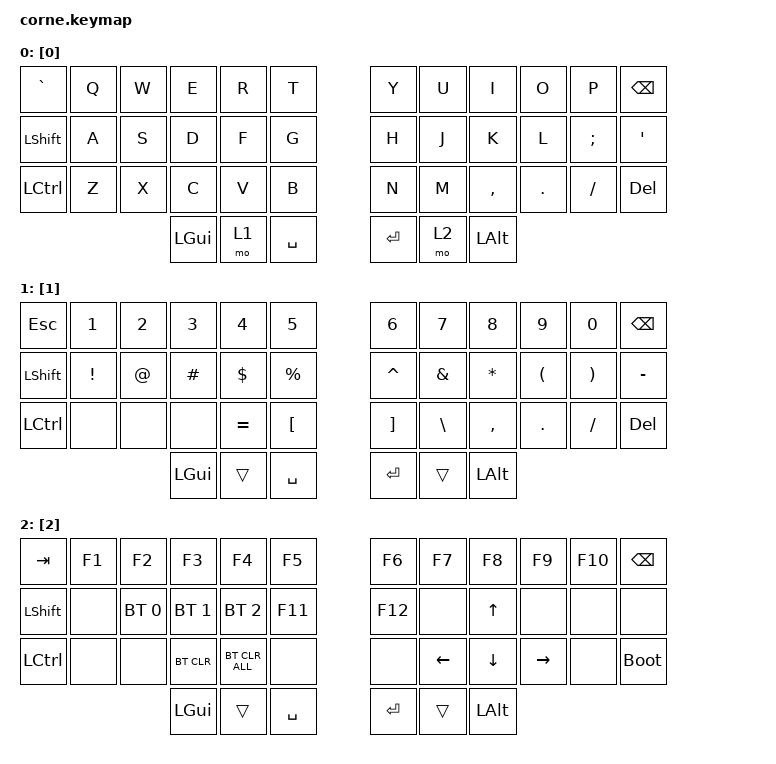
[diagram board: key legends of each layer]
/*
 * Copyright (c) 2020 The ZMK Contributors
 *
 * SPDX-License-Identifier: MIT
 */

#include <behaviors.dtsi>
#include <dt-bindings/zmk/bt.h>
#include <dt-bindings/zmk/keys.h>

/ {
    keymap {
        compatible = "zmk,keymap";

        default_layer {
            label = "[0]";

            // -----------------------------------------------------------------------------------------
            // |  TAB |  Q  |  W  |  E  |  R  |  T  |   |  Y  |  U   |  I  |  O  |  P  | BKSP |
            // | CTRL |  A  |  S  |  D  |  F  |  G  |   |  H  |  J   |  K  |  L  |  ;  |  '   |
            // | SHFT |  Z  |  X  |  C  |  V  |  B  |   |  N  |  M   |  ,  |  .  |  /  | ESC  |
            //                    | GUI | LWR | SPC |   | ENT | RSE  | ALT |

            bindings = <
&kp GRAVE         &kp Q  &kp W  &kp E     &kp R  &kp T        &kp Y       &kp U  &kp I      &kp O    &kp P     &kp BSPC
&kp LEFT_SHIFT    &kp A  &kp S  &kp D     &kp F  &kp G        &kp H       &kp J  &kp K      &kp L    &kp SEMI  &kp SQT
&kp LEFT_CONTROL  &kp Z  &kp X  &kp C     &kp V  &kp B        &kp N       &kp M  &kp COMMA  &kp DOT  &kp FSLH  &kp DELETE
                                &kp LGUI  &mo 1  &kp SPACE    &kp RETURN  &mo 2  &kp LALT
            >;
        };

        lower_layer {
            label = "[1]";

            // -----------------------------------------------------------------------------------------
            // |  TAB |  1  |  2  |  3  |  4  |  5  |   |  6  |  7  |  8  |  9  |  0  | BKSP |
            // | BTCLR| BT1 | BT2 | BT3 | BT4 | BT5 |   | LFT | DWN |  UP | RGT |     |      |
            // | SHFT |     |     |     |     |     |   |     |     |     |     |     |      |
            //                    | GUI |     | SPC |   | ENT |     | ALT |

            bindings = <
&kp ESCAPE        &kp N1           &kp N2       &kp N3     &kp N4     &kp N5              &kp N6             &kp N7         &kp N8        &kp N9                &kp N0                 &kp BSPC
&kp LEFT_SHIFT    &kp EXCLAMATION  &kp AT_SIGN  &kp POUND  &kp DLLR   &kp PERCENT         &kp CARET          &kp AMPERSAND  &kp ASTERISK  &kp LEFT_PARENTHESIS  &kp RIGHT_PARENTHESIS  &kp MINUS
&kp LEFT_CONTROL  &none            &none        &none      &kp EQUAL  &kp LEFT_BRACKET    &kp RIGHT_BRACKET  &kp BACKSLASH  &kp COMMA     &kp PERIOD            &kp SLASH              &kp DELETE
                                                &kp LGUI   &trans     &kp SPACE           &kp RETURN         &trans         &kp LALT
            >;
        };

        raise_layer {
            label = "[2]";

            // -----------------------------------------------------------------------------------------
            // |  TAB |  !  |  @  |  #  |  $  |  %  |   |  ^  |  &  |  *  |  (  |  )  | BKSP |
            // | CTRL |     |     |     |     |     |   |  -  |  =  |  [  |  ]  |  \  |  `   |
            // | SHFT |     |     |     |     |     |   |  _  |  +  |  {  |  }  | "|" |  ~   |
            //                    | GUI |     | SPC |   | ENT |     | ALT |

            bindings = <
&kp TAB           &kp F1  &kp F2        &kp F3        &kp F4          &kp F5       &kp F6      &kp F7          &kp F8          &kp F9           &kp F10  &kp BSPC
&kp LEFT_SHIFT    &none   &bt BT_SEL 0  &bt BT_SEL 1  &bt BT_SEL 2    &kp F11      &kp F12     &none           &kp UP_ARROW    &none            &none    &none
&kp LEFT_CONTROL  &none   &none         &bt BT_CLR    &bt BT_CLR_ALL  &none        &none       &kp LEFT_ARROW  &kp DOWN_ARROW  &kp RIGHT_ARROW  &none    &bootloader
                                        &kp LGUI      &trans          &kp SPACE    &kp RETURN  &trans          &kp LALT
            >;
        };
    };
};
